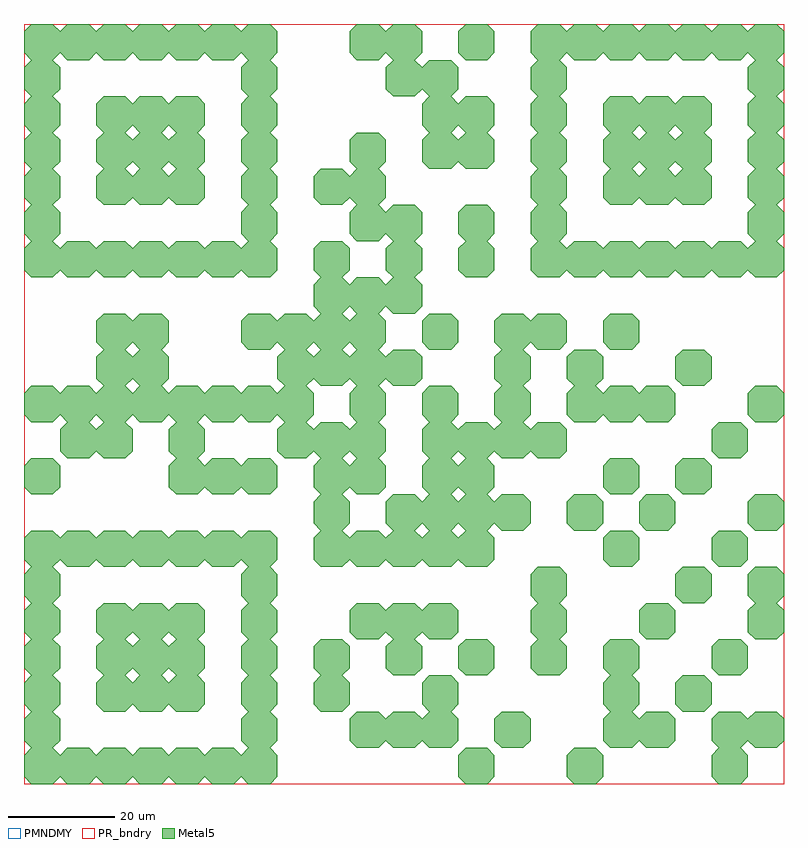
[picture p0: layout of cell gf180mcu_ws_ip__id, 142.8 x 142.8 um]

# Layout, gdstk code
import gdstk
lib = gdstk.Library(unit=1e-6, precision=1e-09)
def R(c, l, rs):  # rectangles x0, y0, x1, y1
    for r in rs: c.add(gdstk.rectangle(r[:2], r[2:], *l))
def P(c, l, *ps):  # polygons
    for p in ps: c.add(gdstk.Polygon(p, *l))
PR_bndry = (0, 0)
Metal5 = (81, 0)
PMNDMY = (152, 5)

gf180mcu_ws_ip__id = lib.new_cell('gf180mcu_ws_ip__id')
R(gf180mcu_ws_ip__id, PR_bndry, [(0,0,142.8,142.8)])
P(gf180mcu_ws_ip__id, Metal5, [(69.36,136),(68,137.36),(68,141.44),(69.36,142.8),(73.44,142.8),(74.8,141.44),(74.8,137.36),(73.44,136)],
  [(69.36,129.2),(68,130.56),(68,134.64),(69.36,136),(73.44,136),(74.8,134.64),(74.8,130.56),(73.44,129.2)],
  [(69.36,102),(68,103.36),(68,107.44),(69.36,108.8),(73.44,108.8),(74.8,107.44),(74.8,103.36),(73.44,102)],
  [(69.36,95.2),(68,96.56),(68,100.64),(69.36,102),(73.44,102),(74.8,100.64),(74.8,96.56),(73.44,95.2)],
  [(69.36,88.4),(68,89.76),(68,93.84),(69.36,95.2),(73.44,95.2),(74.8,93.84),(74.8,89.76),(73.44,88.4)],
  [(69.36,74.8),(68,76.16),(68,80.24),(69.36,81.6),(73.44,81.6),(74.8,80.24),(74.8,76.16),(73.44,74.8)],
  [(1.36,68),(0,69.36),(0,73.44),(1.36,74.8),(5.44,74.8),(6.8,73.44),(6.8,69.36),(5.44,68)],
  [(8.16,68),(6.8,69.36),(6.8,73.44),(8.16,74.8),(12.24,74.8),(13.6,73.44),(13.6,69.36),(12.24,68)],
  [(14.96,68),(13.6,69.36),(13.6,73.44),(14.96,74.8),(19.04,74.8),(20.4,73.44),(20.4,69.36),(19.04,68)],
  [(21.76,68),(20.4,69.36),(20.4,73.44),(21.76,74.8),(25.84,74.8),(27.2,73.44),(27.2,69.36),(25.84,68)],
  [(28.56,68),(27.2,69.36),(27.2,73.44),(28.56,74.8),(32.64,74.8),(34,73.44),(34,69.36),(32.64,68)],
  [(35.36,68),(34,69.36),(34,73.44),(35.36,74.8),(39.44,74.8),(40.8,73.44),(40.8,69.36),(39.44,68)],
  [(42.16,68),(40.8,69.36),(40.8,73.44),(42.16,74.8),(46.24,74.8),(47.6,73.44),(47.6,69.36),(46.24,68)],
  [(48.96,68),(47.6,69.36),(47.6,73.44),(48.96,74.8),(53.04,74.8),(54.4,73.44),(54.4,69.36),(53.04,68)],
  [(62.56,68),(61.2,69.36),(61.2,73.44),(62.56,74.8),(66.64,74.8),(68,73.44),(68,69.36),(66.64,68)],
  [(76.16,68),(74.8,69.36),(74.8,73.44),(76.16,74.8),(80.24,74.8),(81.6,73.44),(81.6,69.36),(80.24,68)],
  [(89.76,68),(88.4,69.36),(88.4,73.44),(89.76,74.8),(93.84,74.8),(95.2,73.44),(95.2,69.36),(93.84,68)],
  [(103.36,68),(102,69.36),(102,73.44),(103.36,74.8),(107.44,74.8),(108.8,73.44),(108.8,69.36),(107.44,68)],
  [(110.16,68),(108.8,69.36),(108.8,73.44),(110.16,74.8),(114.24,74.8),(115.6,73.44),(115.6,69.36),(114.24,68)],
  [(116.96,68),(115.6,69.36),(115.6,73.44),(116.96,74.8),(121.04,74.8),(122.4,73.44),(122.4,69.36),(121.04,68)],
  [(137.36,68),(136,69.36),(136,73.44),(137.36,74.8),(141.44,74.8),(142.8,73.44),(142.8,69.36),(141.44,68)],
  [(69.36,47.6),(68,48.96),(68,53.04),(69.36,54.4),(73.44,54.4),(74.8,53.04),(74.8,48.96),(73.44,47.6)],
  [(69.36,40.8),(68,42.16),(68,46.24),(69.36,47.6),(73.44,47.6),(74.8,46.24),(74.8,42.16),(73.44,40.8)],
  [(69.36,27.2),(68,28.56),(68,32.64),(69.36,34),(73.44,34),(74.8,32.64),(74.8,28.56),(73.44,27.2)],
  [(69.36,20.4),(68,21.76),(68,25.84),(69.36,27.2),(73.44,27.2),(74.8,25.84),(74.8,21.76),(73.44,20.4)],
  [(69.36,6.8),(68,8.16),(68,12.24),(69.36,13.6),(73.44,13.6),(74.8,12.24),(74.8,8.16),(73.44,6.8)],
  [(137.36,115.6),(136,116.96),(136,121.04),(137.36,122.4),(141.44,122.4),(142.8,121.04),(142.8,116.96),(141.44,115.6)],
  [(96.56,108.8),(95.2,110.16),(95.2,114.24),(96.56,115.6),(100.64,115.6),(102,114.24),(102,110.16),(100.64,108.8)],
  [(110.16,108.8),(108.8,110.16),(108.8,114.24),(110.16,115.6),(114.24,115.6),(115.6,114.24),(115.6,110.16),(114.24,108.8)],
  [(116.96,108.8),(115.6,110.16),(115.6,114.24),(116.96,115.6),(121.04,115.6),(122.4,114.24),(122.4,110.16),(121.04,108.8)],
  [(123.76,108.8),(122.4,110.16),(122.4,114.24),(123.76,115.6),(127.84,115.6),(129.2,114.24),(129.2,110.16),(127.84,108.8)],
  [(137.36,108.8),(136,110.16),(136,114.24),(137.36,115.6),(141.44,115.6),(142.8,114.24),(142.8,110.16),(141.44,108.8)],
  [(96.56,136),(95.2,137.36),(95.2,141.44),(96.56,142.8),(100.64,142.8),(102,141.44),(102,137.36),(100.64,136)],
  [(82.96,102),(81.6,103.36),(81.6,107.44),(82.96,108.8),(87.04,108.8),(88.4,107.44),(88.4,103.36),(87.04,102)],
  [(96.56,102),(95.2,103.36),(95.2,107.44),(96.56,108.8),(100.64,108.8),(102,107.44),(102,103.36),(100.64,102)],
  [(137.36,102),(136,103.36),(136,107.44),(137.36,108.8),(141.44,108.8),(142.8,107.44),(142.8,103.36),(141.44,102)],
  [(103.36,136),(102,137.36),(102,141.44),(103.36,142.8),(107.44,142.8),(108.8,141.44),(108.8,137.36),(107.44,136)],
  [(82.96,95.2),(81.6,96.56),(81.6,100.64),(82.96,102),(87.04,102),(88.4,100.64),(88.4,96.56),(87.04,95.2)],
  [(96.56,95.2),(95.2,96.56),(95.2,100.64),(96.56,102),(100.64,102),(102,100.64),(102,96.56),(100.64,95.2)],
  [(103.36,95.2),(102,96.56),(102,100.64),(103.36,102),(107.44,102),(108.8,100.64),(108.8,96.56),(107.44,95.2)],
  [(110.16,95.2),(108.8,96.56),(108.8,100.64),(110.16,102),(114.24,102),(115.6,100.64),(115.6,96.56),(114.24,95.2)],
  [(116.96,95.2),(115.6,96.56),(115.6,100.64),(116.96,102),(121.04,102),(122.4,100.64),(122.4,96.56),(121.04,95.2)],
  [(123.76,95.2),(122.4,96.56),(122.4,100.64),(123.76,102),(127.84,102),(129.2,100.64),(129.2,96.56),(127.84,95.2)],
  [(130.56,95.2),(129.2,96.56),(129.2,100.64),(130.56,102),(134.64,102),(136,100.64),(136,96.56),(134.64,95.2)],
  [(137.36,95.2),(136,96.56),(136,100.64),(137.36,102),(141.44,102),(142.8,100.64),(142.8,96.56),(141.44,95.2)],
  [(110.16,136),(108.8,137.36),(108.8,141.44),(110.16,142.8),(114.24,142.8),(115.6,141.44),(115.6,137.36),(114.24,136)],
  [(76.16,81.6),(74.8,82.96),(74.8,87.04),(76.16,88.4),(80.24,88.4),(81.6,87.04),(81.6,82.96),(80.24,81.6)],
  [(89.76,81.6),(88.4,82.96),(88.4,87.04),(89.76,88.4),(93.84,88.4),(95.2,87.04),(95.2,82.96),(93.84,81.6)],
  [(96.56,81.6),(95.2,82.96),(95.2,87.04),(96.56,88.4),(100.64,88.4),(102,87.04),(102,82.96),(100.64,81.6)],
  [(110.16,81.6),(108.8,82.96),(108.8,87.04),(110.16,88.4),(114.24,88.4),(115.6,87.04),(115.6,82.96),(114.24,81.6)],
  [(116.96,136),(115.6,137.36),(115.6,141.44),(116.96,142.8),(121.04,142.8),(122.4,141.44),(122.4,137.36),(121.04,136)],
  [(89.76,74.8),(88.4,76.16),(88.4,80.24),(89.76,81.6),(93.84,81.6),(95.2,80.24),(95.2,76.16),(93.84,74.8)],
  [(103.36,74.8),(102,76.16),(102,80.24),(103.36,81.6),(107.44,81.6),(108.8,80.24),(108.8,76.16),(107.44,74.8)],
  [(123.76,74.8),(122.4,76.16),(122.4,80.24),(123.76,81.6),(127.84,81.6),(129.2,80.24),(129.2,76.16),(127.84,74.8)],
  [(123.76,136),(122.4,137.36),(122.4,141.44),(123.76,142.8),(127.84,142.8),(129.2,141.44),(129.2,137.36),(127.84,136)],
  [(130.56,136),(129.2,137.36),(129.2,141.44),(130.56,142.8),(134.64,142.8),(136,141.44),(136,137.36),(134.64,136)],
  [(137.36,136),(136,137.36),(136,141.44),(137.36,142.8),(141.44,142.8),(142.8,141.44),(142.8,137.36),(141.44,136)],
  [(82.96,136),(81.6,137.36),(81.6,141.44),(82.96,142.8),(87.04,142.8),(88.4,141.44),(88.4,137.36),(87.04,136)],
  [(76.16,129.2),(74.8,130.56),(74.8,134.64),(76.16,136),(80.24,136),(81.6,134.64),(81.6,130.56),(80.24,129.2)],
  [(96.56,129.2),(95.2,130.56),(95.2,134.64),(96.56,136),(100.64,136),(102,134.64),(102,130.56),(100.64,129.2)],
  [(137.36,129.2),(136,130.56),(136,134.64),(137.36,136),(141.44,136),(142.8,134.64),(142.8,130.56),(141.44,129.2)],
  [(76.16,122.4),(74.8,123.76),(74.8,127.84),(76.16,129.2),(80.24,129.2),(81.6,127.84),(81.6,123.76),(80.24,122.4)],
  [(82.96,122.4),(81.6,123.76),(81.6,127.84),(82.96,129.2),(87.04,129.2),(88.4,127.84),(88.4,123.76),(87.04,122.4)],
  [(96.56,122.4),(95.2,123.76),(95.2,127.84),(96.56,129.2),(100.64,129.2),(102,127.84),(102,123.76),(100.64,122.4)],
  [(110.16,122.4),(108.8,123.76),(108.8,127.84),(110.16,129.2),(114.24,129.2),(115.6,127.84),(115.6,123.76),(114.24,122.4)],
  [(116.96,122.4),(115.6,123.76),(115.6,127.84),(116.96,129.2),(121.04,129.2),(122.4,127.84),(122.4,123.76),(121.04,122.4)],
  [(123.76,122.4),(122.4,123.76),(122.4,127.84),(123.76,129.2),(127.84,129.2),(129.2,127.84),(129.2,123.76),(127.84,122.4)],
  [(137.36,122.4),(136,123.76),(136,127.84),(137.36,129.2),(141.44,129.2),(142.8,127.84),(142.8,123.76),(141.44,122.4)],
  [(76.16,115.6),(74.8,116.96),(74.8,121.04),(76.16,122.4),(80.24,122.4),(81.6,121.04),(81.6,116.96),(80.24,115.6)],
  [(82.96,115.6),(81.6,116.96),(81.6,121.04),(82.96,122.4),(87.04,122.4),(88.4,121.04),(88.4,116.96),(87.04,115.6)],
  [(96.56,115.6),(95.2,116.96),(95.2,121.04),(96.56,122.4),(100.64,122.4),(102,121.04),(102,116.96),(100.64,115.6)],
  [(110.16,115.6),(108.8,116.96),(108.8,121.04),(110.16,122.4),(114.24,122.4),(115.6,121.04),(115.6,116.96),(114.24,115.6)],
  [(116.96,115.6),(115.6,116.96),(115.6,121.04),(116.96,122.4),(121.04,122.4),(122.4,121.04),(122.4,116.96),(121.04,115.6)],
  [(123.76,115.6),(122.4,116.96),(122.4,121.04),(123.76,122.4),(127.84,122.4),(129.2,121.04),(129.2,116.96),(127.84,115.6)],
  [(55.76,95.2),(54.4,96.56),(54.4,100.64),(55.76,102),(59.84,102),(61.2,100.64),(61.2,96.56),(59.84,95.2)],
  [(14.96,115.6),(13.6,116.96),(13.6,121.04),(14.96,122.4),(19.04,122.4),(20.4,121.04),(20.4,116.96),(19.04,115.6)],
  [(21.76,115.6),(20.4,116.96),(20.4,121.04),(21.76,122.4),(25.84,122.4),(27.2,121.04),(27.2,116.96),(25.84,115.6)],
  [(28.56,115.6),(27.2,116.96),(27.2,121.04),(28.56,122.4),(32.64,122.4),(34,121.04),(34,116.96),(32.64,115.6)],
  [(42.16,115.6),(40.8,116.96),(40.8,121.04),(42.16,122.4),(46.24,122.4),(47.6,121.04),(47.6,116.96),(46.24,115.6)],
  [(62.56,115.6),(61.2,116.96),(61.2,121.04),(62.56,122.4),(66.64,122.4),(68,121.04),(68,116.96),(66.64,115.6)],
  [(14.96,136),(13.6,137.36),(13.6,141.44),(14.96,142.8),(19.04,142.8),(20.4,141.44),(20.4,137.36),(19.04,136)],
  [(21.76,136),(20.4,137.36),(20.4,141.44),(21.76,142.8),(25.84,142.8),(27.2,141.44),(27.2,137.36),(25.84,136)],
  [(28.56,136),(27.2,137.36),(27.2,141.44),(28.56,142.8),(32.64,142.8),(34,141.44),(34,137.36),(32.64,136)],
  [(1.36,122.4),(0,123.76),(0,127.84),(1.36,129.2),(5.44,129.2),(6.8,127.84),(6.8,123.76),(5.44,122.4)],
  [(55.76,88.4),(54.4,89.76),(54.4,93.84),(55.76,95.2),(59.84,95.2),(61.2,93.84),(61.2,89.76),(59.84,88.4)],
  [(62.56,88.4),(61.2,89.76),(61.2,93.84),(62.56,95.2),(66.64,95.2),(68,93.84),(68,89.76),(66.64,88.4)],
  [(14.96,122.4),(13.6,123.76),(13.6,127.84),(14.96,129.2),(19.04,129.2),(20.4,127.84),(20.4,123.76),(19.04,122.4)],
  [(14.96,81.6),(13.6,82.96),(13.6,87.04),(14.96,88.4),(19.04,88.4),(20.4,87.04),(20.4,82.96),(19.04,81.6)],
  [(21.76,81.6),(20.4,82.96),(20.4,87.04),(21.76,88.4),(25.84,88.4),(27.2,87.04),(27.2,82.96),(25.84,81.6)],
  [(42.16,81.6),(40.8,82.96),(40.8,87.04),(42.16,88.4),(46.24,88.4),(47.6,87.04),(47.6,82.96),(46.24,81.6)],
  [(48.96,81.6),(47.6,82.96),(47.6,87.04),(48.96,88.4),(53.04,88.4),(54.4,87.04),(54.4,82.96),(53.04,81.6)],
  [(55.76,81.6),(54.4,82.96),(54.4,87.04),(55.76,88.4),(59.84,88.4),(61.2,87.04),(61.2,82.96),(59.84,81.6)],
  [(62.56,81.6),(61.2,82.96),(61.2,87.04),(62.56,88.4),(66.64,88.4),(68,87.04),(68,82.96),(66.64,81.6)],
  [(21.76,122.4),(20.4,123.76),(20.4,127.84),(21.76,129.2),(25.84,129.2),(27.2,127.84),(27.2,123.76),(25.84,122.4)],
  [(28.56,122.4),(27.2,123.76),(27.2,127.84),(28.56,129.2),(32.64,129.2),(34,127.84),(34,123.76),(32.64,122.4)],
  [(1.36,108.8),(0,110.16),(0,114.24),(1.36,115.6),(5.44,115.6),(6.8,114.24),(6.8,110.16),(5.44,108.8)],
  [(14.96,108.8),(13.6,110.16),(13.6,114.24),(14.96,115.6),(19.04,115.6),(20.4,114.24),(20.4,110.16),(19.04,108.8)],
  [(14.96,74.8),(13.6,76.16),(13.6,80.24),(14.96,81.6),(19.04,81.6),(20.4,80.24),(20.4,76.16),(19.04,74.8)],
  [(21.76,74.8),(20.4,76.16),(20.4,80.24),(21.76,81.6),(25.84,81.6),(27.2,80.24),(27.2,76.16),(25.84,74.8)],
  [(48.96,74.8),(47.6,76.16),(47.6,80.24),(48.96,81.6),(53.04,81.6),(54.4,80.24),(54.4,76.16),(53.04,74.8)],
  [(55.76,74.8),(54.4,76.16),(54.4,80.24),(55.76,81.6),(59.84,81.6),(61.2,80.24),(61.2,76.16),(59.84,74.8)],
  [(62.56,74.8),(61.2,76.16),(61.2,80.24),(62.56,81.6),(66.64,81.6),(68,80.24),(68,76.16),(66.64,74.8)],
  [(21.76,108.8),(20.4,110.16),(20.4,114.24),(21.76,115.6),(25.84,115.6),(27.2,114.24),(27.2,110.16),(25.84,108.8)],
  [(28.56,108.8),(27.2,110.16),(27.2,114.24),(28.56,115.6),(32.64,115.6),(34,114.24),(34,110.16),(32.64,108.8)],
  [(42.16,108.8),(40.8,110.16),(40.8,114.24),(42.16,115.6),(46.24,115.6),(47.6,114.24),(47.6,110.16),(46.24,108.8)],
  [(55.76,108.8),(54.4,110.16),(54.4,114.24),(55.76,115.6),(59.84,115.6),(61.2,114.24),(61.2,110.16),(59.84,108.8)],
  [(62.56,108.8),(61.2,110.16),(61.2,114.24),(62.56,115.6),(66.64,115.6),(68,114.24),(68,110.16),(66.64,108.8)],
  [(42.16,122.4),(40.8,123.76),(40.8,127.84),(42.16,129.2),(46.24,129.2),(47.6,127.84),(47.6,123.76),(46.24,122.4)],
  [(35.36,136),(34,137.36),(34,141.44),(35.36,142.8),(39.44,142.8),(40.8,141.44),(40.8,137.36),(39.44,136)],
  [(42.16,136),(40.8,137.36),(40.8,141.44),(42.16,142.8),(46.24,142.8),(47.6,141.44),(47.6,137.36),(46.24,136)],
  [(62.56,136),(61.2,137.36),(61.2,141.44),(62.56,142.8),(66.64,142.8),(68,141.44),(68,137.36),(66.64,136)],
  [(1.36,136),(0,137.36),(0,141.44),(1.36,142.8),(5.44,142.8),(6.8,141.44),(6.8,137.36),(5.44,136)],
  [(1.36,102),(0,103.36),(0,107.44),(1.36,108.8),(5.44,108.8),(6.8,107.44),(6.8,103.36),(5.44,102)],
  [(42.16,102),(40.8,103.36),(40.8,107.44),(42.16,108.8),(46.24,108.8),(47.6,107.44),(47.6,103.36),(46.24,102)],
  [(62.56,102),(61.2,103.36),(61.2,107.44),(62.56,108.8),(66.64,108.8),(68,107.44),(68,103.36),(66.64,102)],
  [(1.36,129.2),(0,130.56),(0,134.64),(1.36,136),(5.44,136),(6.8,134.64),(6.8,130.56),(5.44,129.2)],
  [(42.16,129.2),(40.8,130.56),(40.8,134.64),(42.16,136),(46.24,136),(47.6,134.64),(47.6,130.56),(46.24,129.2)],
  [(8.16,136),(6.8,137.36),(6.8,141.44),(8.16,142.8),(12.24,142.8),(13.6,141.44),(13.6,137.36),(12.24,136)],
  [(1.36,115.6),(0,116.96),(0,121.04),(1.36,122.4),(5.44,122.4),(6.8,121.04),(6.8,116.96),(5.44,115.6)],
  [(1.36,95.2),(0,96.56),(0,100.64),(1.36,102),(5.44,102),(6.8,100.64),(6.8,96.56),(5.44,95.2)],
  [(8.16,95.2),(6.8,96.56),(6.8,100.64),(8.16,102),(12.24,102),(13.6,100.64),(13.6,96.56),(12.24,95.2)],
  [(14.96,95.2),(13.6,96.56),(13.6,100.64),(14.96,102),(19.04,102),(20.4,100.64),(20.4,96.56),(19.04,95.2)],
  [(21.76,95.2),(20.4,96.56),(20.4,100.64),(21.76,102),(25.84,102),(27.2,100.64),(27.2,96.56),(25.84,95.2)],
  [(28.56,95.2),(27.2,96.56),(27.2,100.64),(28.56,102),(32.64,102),(34,100.64),(34,96.56),(32.64,95.2)],
  [(35.36,95.2),(34,96.56),(34,100.64),(35.36,102),(39.44,102),(40.8,100.64),(40.8,96.56),(39.44,95.2)],
  [(42.16,95.2),(40.8,96.56),(40.8,100.64),(42.16,102),(46.24,102),(47.6,100.64),(47.6,96.56),(46.24,95.2)],
  [(62.56,61.2),(61.2,62.56),(61.2,66.64),(62.56,68),(66.64,68),(68,66.64),(68,62.56),(66.64,61.2)],
  [(1.36,54.4),(0,55.76),(0,59.84),(1.36,61.2),(5.44,61.2),(6.8,59.84),(6.8,55.76),(5.44,54.4)],
  [(28.56,54.4),(27.2,55.76),(27.2,59.84),(28.56,61.2),(32.64,61.2),(34,59.84),(34,55.76),(32.64,54.4)],
  [(35.36,54.4),(34,55.76),(34,59.84),(35.36,61.2),(39.44,61.2),(40.8,59.84),(40.8,55.76),(39.44,54.4)],
  [(42.16,54.4),(40.8,55.76),(40.8,59.84),(42.16,61.2),(46.24,61.2),(47.6,59.84),(47.6,55.76),(46.24,54.4)],
  [(55.76,54.4),(54.4,55.76),(54.4,59.84),(55.76,61.2),(59.84,61.2),(61.2,59.84),(61.2,55.76),(59.84,54.4)],
  [(62.56,54.4),(61.2,55.76),(61.2,59.84),(62.56,61.2),(66.64,61.2),(68,59.84),(68,55.76),(66.64,54.4)],
  [(55.76,47.6),(54.4,48.96),(54.4,53.04),(55.76,54.4),(59.84,54.4),(61.2,53.04),(61.2,48.96),(59.84,47.6)],
  [(8.16,61.2),(6.8,62.56),(6.8,66.64),(8.16,68),(12.24,68),(13.6,66.64),(13.6,62.56),(12.24,61.2)],
  [(1.36,40.8),(0,42.16),(0,46.24),(1.36,47.6),(5.44,47.6),(6.8,46.24),(6.8,42.16),(5.44,40.8)],
  [(8.16,40.8),(6.8,42.16),(6.8,46.24),(8.16,47.6),(12.24,47.6),(13.6,46.24),(13.6,42.16),(12.24,40.8)],
  [(14.96,40.8),(13.6,42.16),(13.6,46.24),(14.96,47.6),(19.04,47.6),(20.4,46.24),(20.4,42.16),(19.04,40.8)],
  [(21.76,40.8),(20.4,42.16),(20.4,46.24),(21.76,47.6),(25.84,47.6),(27.2,46.24),(27.2,42.16),(25.84,40.8)],
  [(28.56,40.8),(27.2,42.16),(27.2,46.24),(28.56,47.6),(32.64,47.6),(34,46.24),(34,42.16),(32.64,40.8)],
  [(35.36,40.8),(34,42.16),(34,46.24),(35.36,47.6),(39.44,47.6),(40.8,46.24),(40.8,42.16),(39.44,40.8)],
  [(42.16,40.8),(40.8,42.16),(40.8,46.24),(42.16,47.6),(46.24,47.6),(47.6,46.24),(47.6,42.16),(46.24,40.8)],
  [(55.76,40.8),(54.4,42.16),(54.4,46.24),(55.76,47.6),(59.84,47.6),(61.2,46.24),(61.2,42.16),(59.84,40.8)],
  [(62.56,40.8),(61.2,42.16),(61.2,46.24),(62.56,47.6),(66.64,47.6),(68,46.24),(68,42.16),(66.64,40.8)],
  [(14.96,61.2),(13.6,62.56),(13.6,66.64),(14.96,68),(19.04,68),(20.4,66.64),(20.4,62.56),(19.04,61.2)],
  [(1.36,34),(0,35.36),(0,39.44),(1.36,40.8),(5.44,40.8),(6.8,39.44),(6.8,35.36),(5.44,34)],
  [(42.16,34),(40.8,35.36),(40.8,39.44),(42.16,40.8),(46.24,40.8),(47.6,39.44),(47.6,35.36),(46.24,34)],
  [(1.36,27.2),(0,28.56),(0,32.64),(1.36,34),(5.44,34),(6.8,32.64),(6.8,28.56),(5.44,27.2)],
  [(14.96,27.2),(13.6,28.56),(13.6,32.64),(14.96,34),(19.04,34),(20.4,32.64),(20.4,28.56),(19.04,27.2)],
  [(21.76,27.2),(20.4,28.56),(20.4,32.64),(21.76,34),(25.84,34),(27.2,32.64),(27.2,28.56),(25.84,27.2)],
  [(28.56,27.2),(27.2,28.56),(27.2,32.64),(28.56,34),(32.64,34),(34,32.64),(34,28.56),(32.64,27.2)],
  [(42.16,27.2),(40.8,28.56),(40.8,32.64),(42.16,34),(46.24,34),(47.6,32.64),(47.6,28.56),(46.24,27.2)],
  [(62.56,27.2),(61.2,28.56),(61.2,32.64),(62.56,34),(66.64,34),(68,32.64),(68,28.56),(66.64,27.2)],
  [(28.56,61.2),(27.2,62.56),(27.2,66.64),(28.56,68),(32.64,68),(34,66.64),(34,62.56),(32.64,61.2)],
  [(1.36,20.4),(0,21.76),(0,25.84),(1.36,27.2),(5.44,27.2),(6.8,25.84),(6.8,21.76),(5.44,20.4)],
  [(14.96,20.4),(13.6,21.76),(13.6,25.84),(14.96,27.2),(19.04,27.2),(20.4,25.84),(20.4,21.76),(19.04,20.4)],
  [(21.76,20.4),(20.4,21.76),(20.4,25.84),(21.76,27.2),(25.84,27.2),(27.2,25.84),(27.2,21.76),(25.84,20.4)],
  [(28.56,20.4),(27.2,21.76),(27.2,25.84),(28.56,27.2),(32.64,27.2),(34,25.84),(34,21.76),(32.64,20.4)],
  [(42.16,20.4),(40.8,21.76),(40.8,25.84),(42.16,27.2),(46.24,27.2),(47.6,25.84),(47.6,21.76),(46.24,20.4)],
  [(55.76,20.4),(54.4,21.76),(54.4,25.84),(55.76,27.2),(59.84,27.2),(61.2,25.84),(61.2,21.76),(59.84,20.4)],
  [(48.96,61.2),(47.6,62.56),(47.6,66.64),(48.96,68),(53.04,68),(54.4,66.64),(54.4,62.56),(53.04,61.2)],
  [(1.36,13.6),(0,14.96),(0,19.04),(1.36,20.4),(5.44,20.4),(6.8,19.04),(6.8,14.96),(5.44,13.6)],
  [(14.96,13.6),(13.6,14.96),(13.6,19.04),(14.96,20.4),(19.04,20.4),(20.4,19.04),(20.4,14.96),(19.04,13.6)],
  [(21.76,13.6),(20.4,14.96),(20.4,19.04),(21.76,20.4),(25.84,20.4),(27.2,19.04),(27.2,14.96),(25.84,13.6)],
  [(28.56,13.6),(27.2,14.96),(27.2,19.04),(28.56,20.4),(32.64,20.4),(34,19.04),(34,14.96),(32.64,13.6)],
  [(42.16,13.6),(40.8,14.96),(40.8,19.04),(42.16,20.4),(46.24,20.4),(47.6,19.04),(47.6,14.96),(46.24,13.6)],
  [(55.76,13.6),(54.4,14.96),(54.4,19.04),(55.76,20.4),(59.84,20.4),(61.2,19.04),(61.2,14.96),(59.84,13.6)],
  [(1.36,6.8),(0,8.16),(0,12.24),(1.36,13.6),(5.44,13.6),(6.8,12.24),(6.8,8.16),(5.44,6.8)],
  [(42.16,6.8),(40.8,8.16),(40.8,12.24),(42.16,13.6),(46.24,13.6),(47.6,12.24),(47.6,8.16),(46.24,6.8)],
  [(62.56,6.8),(61.2,8.16),(61.2,12.24),(62.56,13.6),(66.64,13.6),(68,12.24),(68,8.16),(66.64,6.8)],
  [(55.76,61.2),(54.4,62.56),(54.4,66.64),(55.76,68),(59.84,68),(61.2,66.64),(61.2,62.56),(59.84,61.2)],
  [(1.36,0),(0,1.36),(0,5.44),(1.36,6.8),(5.44,6.8),(6.8,5.44),(6.8,1.36),(5.44,0)],
  [(8.16,0),(6.8,1.36),(6.8,5.44),(8.16,6.8),(12.24,6.8),(13.6,5.44),(13.6,1.36),(12.24,0)],
  [(14.96,0),(13.6,1.36),(13.6,5.44),(14.96,6.8),(19.04,6.8),(20.4,5.44),(20.4,1.36),(19.04,0)],
  [(21.76,0),(20.4,1.36),(20.4,5.44),(21.76,6.8),(25.84,6.8),(27.2,5.44),(27.2,1.36),(25.84,0)],
  [(28.56,0),(27.2,1.36),(27.2,5.44),(28.56,6.8),(32.64,6.8),(34,5.44),(34,1.36),(32.64,0)],
  [(35.36,0),(34,1.36),(34,5.44),(35.36,6.8),(39.44,6.8),(40.8,5.44),(40.8,1.36),(39.44,0)],
  [(42.16,0),(40.8,1.36),(40.8,5.44),(42.16,6.8),(46.24,6.8),(47.6,5.44),(47.6,1.36),(46.24,0)],
  [(116.96,27.2),(115.6,28.56),(115.6,32.64),(116.96,34),(121.04,34),(122.4,32.64),(122.4,28.56),(121.04,27.2)],
  [(137.36,27.2),(136,28.56),(136,32.64),(137.36,34),(141.44,34),(142.8,32.64),(142.8,28.56),(141.44,27.2)],
  [(82.96,54.4),(81.6,55.76),(81.6,59.84),(82.96,61.2),(87.04,61.2),(88.4,59.84),(88.4,55.76),(87.04,54.4)],
  [(110.16,54.4),(108.8,55.76),(108.8,59.84),(110.16,61.2),(114.24,61.2),(115.6,59.84),(115.6,55.76),(114.24,54.4)],
  [(123.76,54.4),(122.4,55.76),(122.4,59.84),(123.76,61.2),(127.84,61.2),(129.2,59.84),(129.2,55.76),(127.84,54.4)],
  [(82.96,61.2),(81.6,62.56),(81.6,66.64),(82.96,68),(87.04,68),(88.4,66.64),(88.4,62.56),(87.04,61.2)],
  [(89.76,61.2),(88.4,62.56),(88.4,66.64),(89.76,68),(93.84,68),(95.2,66.64),(95.2,62.56),(93.84,61.2)],
  [(76.16,47.6),(74.8,48.96),(74.8,53.04),(76.16,54.4),(80.24,54.4),(81.6,53.04),(81.6,48.96),(80.24,47.6)],
  [(76.16,40.8),(74.8,42.16),(74.8,46.24),(76.16,47.6),(80.24,47.6),(81.6,46.24),(81.6,42.16),(80.24,40.8)],
  [(82.96,20.4),(81.6,21.76),(81.6,25.84),(82.96,27.2),(87.04,27.2),(88.4,25.84),(88.4,21.76),(87.04,20.4)],
  [(96.56,20.4),(95.2,21.76),(95.2,25.84),(96.56,27.2),(100.64,27.2),(102,25.84),(102,21.76),(100.64,20.4)],
  [(110.16,20.4),(108.8,21.76),(108.8,25.84),(110.16,27.2),(114.24,27.2),(115.6,25.84),(115.6,21.76),(114.24,20.4)],
  [(130.56,20.4),(129.2,21.76),(129.2,25.84),(130.56,27.2),(134.64,27.2),(136,25.84),(136,21.76),(134.64,20.4)],
  [(82.96,40.8),(81.6,42.16),(81.6,46.24),(82.96,47.6),(87.04,47.6),(88.4,46.24),(88.4,42.16),(87.04,40.8)],
  [(110.16,40.8),(108.8,42.16),(108.8,46.24),(110.16,47.6),(114.24,47.6),(115.6,46.24),(115.6,42.16),(114.24,40.8)],
  [(130.56,40.8),(129.2,42.16),(129.2,46.24),(130.56,47.6),(134.64,47.6),(136,46.24),(136,42.16),(134.64,40.8)],
  [(82.96,47.6),(81.6,48.96),(81.6,53.04),(82.96,54.4),(87.04,54.4),(88.4,53.04),(88.4,48.96),(87.04,47.6)],
  [(89.76,47.6),(88.4,48.96),(88.4,53.04),(89.76,54.4),(93.84,54.4),(95.2,53.04),(95.2,48.96),(93.84,47.6)],
  [(96.56,34),(95.2,35.36),(95.2,39.44),(96.56,40.8),(100.64,40.8),(102,39.44),(102,35.36),(100.64,34)],
  [(76.16,13.6),(74.8,14.96),(74.8,19.04),(76.16,20.4),(80.24,20.4),(81.6,19.04),(81.6,14.96),(80.24,13.6)],
  [(110.16,13.6),(108.8,14.96),(108.8,19.04),(110.16,20.4),(114.24,20.4),(115.6,19.04),(115.6,14.96),(114.24,13.6)],
  [(123.76,13.6),(122.4,14.96),(122.4,19.04),(123.76,20.4),(127.84,20.4),(129.2,19.04),(129.2,14.96),(127.84,13.6)],
  [(123.76,34),(122.4,35.36),(122.4,39.44),(123.76,40.8),(127.84,40.8),(129.2,39.44),(129.2,35.36),(127.84,34)],
  [(137.36,34),(136,35.36),(136,39.44),(137.36,40.8),(141.44,40.8),(142.8,39.44),(142.8,35.36),(141.44,34)],
  [(103.36,47.6),(102,48.96),(102,53.04),(103.36,54.4),(107.44,54.4),(108.8,53.04),(108.8,48.96),(107.44,47.6)],
  [(116.96,47.6),(115.6,48.96),(115.6,53.04),(116.96,54.4),(121.04,54.4),(122.4,53.04),(122.4,48.96),(121.04,47.6)],
  [(76.16,6.8),(74.8,8.16),(74.8,12.24),(76.16,13.6),(80.24,13.6),(81.6,12.24),(81.6,8.16),(80.24,6.8)],
  [(89.76,6.8),(88.4,8.16),(88.4,12.24),(89.76,13.6),(93.84,13.6),(95.2,12.24),(95.2,8.16),(93.84,6.8)],
  [(110.16,6.8),(108.8,8.16),(108.8,12.24),(110.16,13.6),(114.24,13.6),(115.6,12.24),(115.6,8.16),(114.24,6.8)],
  [(116.96,6.8),(115.6,8.16),(115.6,12.24),(116.96,13.6),(121.04,13.6),(122.4,12.24),(122.4,8.16),(121.04,6.8)],
  [(130.56,6.8),(129.2,8.16),(129.2,12.24),(130.56,13.6),(134.64,13.6),(136,12.24),(136,8.16),(134.64,6.8)],
  [(137.36,6.8),(136,8.16),(136,12.24),(137.36,13.6),(141.44,13.6),(142.8,12.24),(142.8,8.16),(141.44,6.8)],
  [(137.36,47.6),(136,48.96),(136,53.04),(137.36,54.4),(141.44,54.4),(142.8,53.04),(142.8,48.96),(141.44,47.6)],
  [(96.56,61.2),(95.2,62.56),(95.2,66.64),(96.56,68),(100.64,68),(102,66.64),(102,62.56),(100.64,61.2)],
  [(130.56,61.2),(129.2,62.56),(129.2,66.64),(130.56,68),(134.64,68),(136,66.64),(136,62.56),(134.64,61.2)],
  [(76.16,61.2),(74.8,62.56),(74.8,66.64),(76.16,68),(80.24,68),(81.6,66.64),(81.6,62.56),(80.24,61.2)],
  [(76.16,54.4),(74.8,55.76),(74.8,59.84),(76.16,61.2),(80.24,61.2),(81.6,59.84),(81.6,55.76),(80.24,54.4)],
  [(76.16,27.2),(74.8,28.56),(74.8,32.64),(76.16,34),(80.24,34),(81.6,32.64),(81.6,28.56),(80.24,27.2)],
  [(96.56,27.2),(95.2,28.56),(95.2,32.64),(96.56,34),(100.64,34),(102,32.64),(102,28.56),(100.64,27.2)],
  [(82.96,0),(81.6,1.36),(81.6,5.44),(82.96,6.8),(87.04,6.8),(88.4,5.44),(88.4,1.36),(87.04,0)],
  [(103.36,0),(102,1.36),(102,5.44),(103.36,6.8),(107.44,6.8),(108.8,5.44),(108.8,1.36),(107.44,0)],
  [(130.56,0),(129.2,1.36),(129.2,5.44),(130.56,6.8),(134.64,6.8),(136,5.44),(136,1.36),(134.64,0)])
R(gf180mcu_ws_ip__id, PMNDMY, [(0,0,142.8,142.8)])

lib.write_gds('gf180mcu_ws_ip__id.gds')
